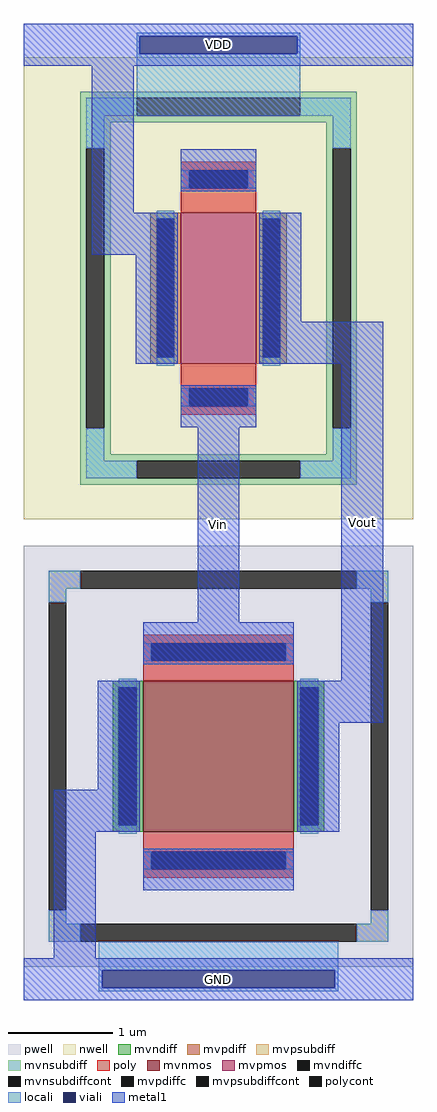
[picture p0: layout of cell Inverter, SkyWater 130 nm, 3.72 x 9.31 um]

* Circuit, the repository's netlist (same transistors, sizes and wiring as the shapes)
** sch_path: /foss/designs/final-circuits/Inverter.sch
.subckt Inverter Vin Vout GND VDD
*.PININFO Vout:O Vin:I VDD:I GND:I
XM1 Vout Vin VDD VDD sky130_fd_pr__pfet_g5v0d10v5 L=0.720 W=1.44 nf=1 m=1
XM2 Vout Vin GND GND sky130_fd_pr__nfet_g5v0d10v5 L=1.44 W=1.44 nf=1 m=1
.ends
.end

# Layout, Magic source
magic
tech sky130A
magscale 1 2
<< nwell >>
rect 1366 892 2110 896
rect 1366 14 1408 892
rect 2068 14 2110 892
<< mvpsubdiff >>
rect 1414 -118 1474 -84
rect 2002 -118 2062 -84
rect 1414 -144 1448 -118
rect 1414 -758 1448 -732
rect 2028 -144 2062 -118
rect 2028 -758 2062 -732
rect 1414 -792 1474 -758
rect 2002 -792 2062 -758
<< mvpsubdiffcont >>
rect 1474 -118 2002 -84
rect 1414 -732 1448 -144
rect 2028 -732 2062 -144
rect 1474 -792 2002 -758
<< locali >>
rect 1582 936 1894 942
rect 1582 902 1588 936
rect 1888 902 1894 936
rect 1582 784 1894 902
rect 1414 -118 1474 -84
rect 2002 -118 2062 -84
rect 1414 -144 1448 -118
rect 1414 -758 1448 -732
rect 2028 -144 2062 -118
rect 2028 -758 2062 -732
rect 1414 -792 1474 -758
rect 2002 -792 2062 -758
rect 1510 -846 1966 -792
rect 1510 -880 1516 -846
rect 1960 -880 1966 -846
rect 1510 -886 1966 -880
<< viali >>
rect 1588 902 1888 936
rect 1516 -880 1960 -846
<< metal1 >>
rect 1366 936 2110 959
rect 1366 902 1588 936
rect 1888 902 2110 936
rect 1366 879 2110 902
rect 1496 599 1576 879
rect 1666 640 1810 720
rect 1496 519 1660 599
rect 1580 311 1660 519
rect 1816 391 1896 599
rect 1816 311 2052 391
rect 1666 190 1810 270
rect 1698 -182 1778 190
rect 1594 -262 1882 -182
rect 1972 -294 2052 311
rect 1508 -502 1588 -294
rect 1424 -582 1588 -502
rect 1888 -374 2052 -294
rect 1888 -582 1968 -374
rect 1424 -823 1504 -582
rect 1594 -694 1882 -614
rect 1366 -846 2110 -823
rect 1366 -880 1516 -846
rect 1960 -880 2110 -846
rect 1366 -903 2110 -880
use sky130_fd_pr__pfet_g5v0d10v5_CY7YBN  XM1
transform 1 0 1738 0 1 455
box -330 -441 330 441
use sky130_fd_pr__nfet_g5v0d10v5_3Y2F6P  XM2
transform 1 0 1738 0 1 -438
box -372 -402 372 402
<< labels >>
flabel metal1 1366 -886 2110 -840 0 FreeSans 160 0 0 0 GND
port 0 nsew
flabel metal1 1972 -374 2052 391 0 FreeSans 160 0 0 0 Vout
port 3 nsew
flabel metal1 1366 879 2110 959 0 FreeSans 160 0 0 0 VDD
port 1 nsew
flabel metal1 1698 -262 1778 270 0 FreeSans 160 0 0 0 Vin
port 2 nsew
<< end >>

# cell sky130_fd_pr__pfet_g5v0d10v5_CY7YBN: kit device sky130_fd_pr__pfet_g5v0d10v5, w 1.44 l 0.72 m 1 nf 1 diffcov 100 polycov 100 guard 1 glc 1 grc 1 gtc 1 gbc 1 tbcov 100 rlcov 100 topc 1 botc 1 poverlap 0 doverlap 1 lmin 0.50 wmin 0.42 class mosfet compatible {sky130_fd_pr__pfet_01v8 sky130_fd_pr__pfet_01v8_lvt sky130_fd_pr__pfet_01v8_hvt sky130_fd_pr__pfet_g5v0d10v5} full_metal 1 viasrc 100 viadrn 100 viagate 100 viagb 0 viagr 0 viagl 0 viagt 0

# cell sky130_fd_pr__nfet_g5v0d10v5_3Y2F6P: kit device sky130_fd_pr__nfet_g5v0d10v5, w 1.44 l 1.44 m 1 nf 1 diffcov 100 polycov 100 guard 1 glc 1 grc 1 gtc 1 gbc 1 tbcov 100 rlcov 100 topc 1 botc 1 poverlap 0 doverlap 1 lmin 0.50 wmin 0.42 class mosfet compatible {sky130_fd_pr__nfet_01v8 sky130_fd_pr__nfet_01v8_lvt sky130_fd_bs_flash__special_sonosfet_star sky130_fd_pr__nfet_g5v0d10v5 sky130_fd_pr__nfet_05v0_nvt sky130_fd_pr__nfet_03v3_nvt} full_metal 1 viasrc 100 viadrn 100 viagate 100 viagb 0 viagr 0 viagl 0 viagt 0
